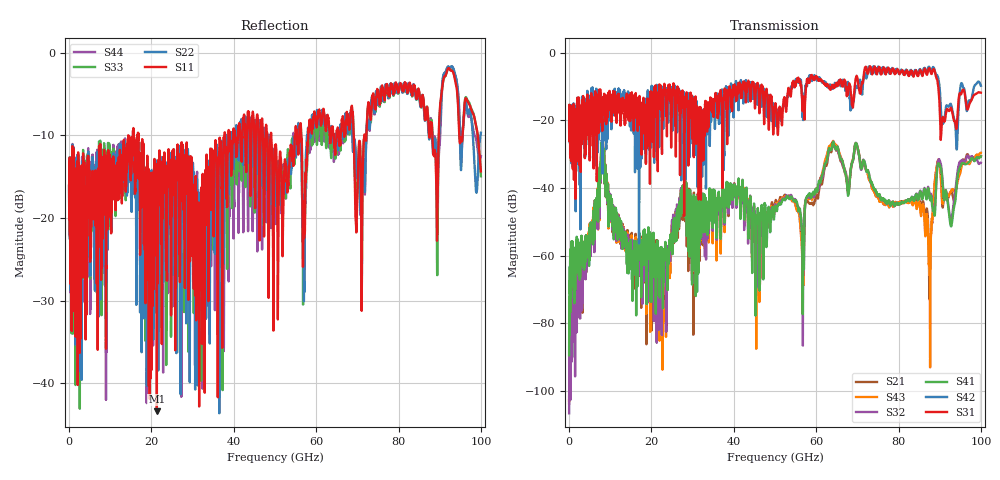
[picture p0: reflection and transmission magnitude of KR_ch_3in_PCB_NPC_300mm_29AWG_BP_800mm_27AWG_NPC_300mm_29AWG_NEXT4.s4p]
# GHz S RI R 45
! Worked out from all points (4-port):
!   4000 points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, 25 MHz to 100 GHz, reference 45 ohm
!   strongest paths, dB at 25 MHz, 25.02 GHz, 50.02 GHz, 75.03 GHz, 100 GHz:
!     S31: -20.6, -14.3, -15.8, -5.2, -11.8
!     S42: -20.6, -18.0, -18.0, -4.3, -9.8
!     S41: -89.4, -54.6, -46.0, -42.3, -30.7
!     S32: -106.6, -49.7, -45.1, -42.4, -32.5
!     S43: -102.8, -51.2, -44.8, -42.2, -29.6
!     S21: -103.7, -51.9, -44.5, -42.4, -30.6
!   lowest |S11| = -43.4 dB at 21.32 GHz (marker M1), VSWR 1.01, Z = 44.6 + j0.454 ohm
!   |S11| at or under -10 dB: start of sweep to 14.4 GHz; 16.85 GHz to 37.75 GHz (20.9 GHz wide, 76.6 % of centre); 49.1 GHz to 54.96 GHz (5.861 GHz wide, 11.3 % of centre)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
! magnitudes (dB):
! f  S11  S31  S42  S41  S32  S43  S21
! 25 MHz  -16.1  -20.6  -20.6  -89.4  -106.6  -102.8  -103.7
! 8.225 GHz  -14.9  -14.6  -21.1  -25.5  -25.9  -25.6  -26.0
! 21.32 GHz  -43.4  -20.6  -11.1  -65.0  -68.0  -62.0  -62.9
! 56.65 GHz  -17.4  -15.0  -18.5  -59.6  -57.3  -62.7  -61.4
! 64.1 GHz  -9.5  -9.9  -10.1  -26.3  -27.4  -26.1  -27.3
! 87.55 GHz  -10.2  -4.7  -4.5  -43.1  -42.9  -63.4  -62.1
! 100 GHz  -14.4  -11.8  -9.8  -30.7  -32.5  -29.6  -30.6
